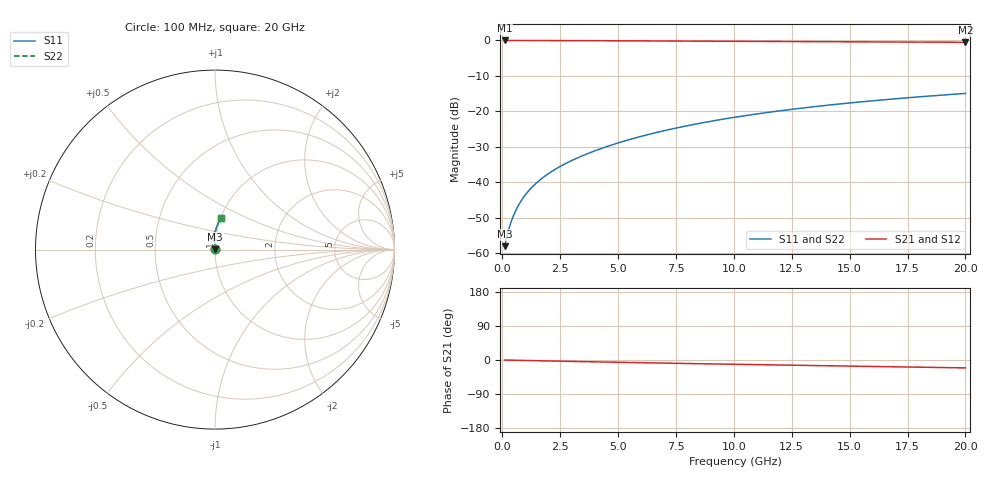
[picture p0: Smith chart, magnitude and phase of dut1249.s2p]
! Touchstone file exported from HFSS 2024.1.0
!  File:  C:/UserFiles/LocalFiles/RDL_TSV_Batchsim/temp_RDL_bottom_1249_1780245326.aedt
!  Generated:  12:37:33 AM Jun  1, 2026
!  Design:  RDL_bottom
!  Project:  temp_RDL_bottom_1249_1780245326
!  Setup:  Setup1
!  Solution:  Sweep
! Variables:
!  dtsv = 10.80580581um
!  hbump = 3um
!  htsv = 82.54um
!  ldown = 301.2um
!  lrdl = 100um
!  p = 40
!  p1 = 49.51um
!  rhole = 1um
!  t = 450um
!  tdown = 4.75um
!  trdl = 3.915915916um
!  wdown = 27.9um
!  wrdl = 20um
# GHz S MA R 50.000000
! Terminal data exported
! Port[1] = RDL1_T1
! Port[2] = RDL1_T2
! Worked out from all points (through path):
!   200 points, 100 MHz to 20 GHz, reference 50 ohm
!   highest |S21| = -0.01 dB at 100 MHz (marker M1); lowest = -0.5 dB at 20 GHz (marker M2)
!   group delay of S21, straight-line fit = 2.84 ps
!   lowest |S11| = -58.0 dB at 100 MHz (marker M3), VSWR 1.00, Z = 50.1 + j0.0768 ohm
!   |S11| at or under -10 dB: start of sweep to end of sweep
!   |S22| runs from -58.0 to -14.9 dB; largest |S21 - S12| = 4.4e-15
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0.1  0.001262 37.4  0.999 -0.1  0.999 -0.1  0.001262 37.4
! Gamma 0 0 0 0
! Port Impedance 50 0 50 0
0.2  0.001757 52.9  0.9989 -0.3  0.9989 -0.3  0.001757 52.9
0.3  0.002305 62.3  0.9988 -0.4  0.9988 -0.4  0.002305 62.3
0.4  0.002892 68.3  0.9987 -0.5  0.9987 -0.5  0.002892 68.3
0.5  0.003503 72.4  0.9986 -0.6  0.9986 -0.6  0.003503 72.4
0.6  0.004128 75.3  0.9985 -0.8  0.9985 -0.8  0.004128 75.3
0.8  0.005401 79.3  0.9983 -1.0  0.9983 -1.0  0.005401 79.3
1.1  0.007345 82.8  0.998 -1.4  0.998 -1.4  0.007345 82.8
1.5  0.009975 85.7  0.9974 -1.9  0.9974 -1.9  0.009975 85.7
1.8  0.01198 87.2  0.9969 -2.3  0.9969 -2.3  0.01198 87.2
2.1  0.01401 88.4  0.9963 -2.6  0.9963 -2.6  0.01401 88.4
2.7  0.01818 90.3  0.9949 -3.4  0.9949 -3.4  0.01818 90.3
3.5  0.02401 92.1  0.9927 -4.3  0.9927 -4.3  0.02402 92.1
4.2  0.02942 93.1  0.9905 -5.1  0.9905 -5.1  0.02942 93.1
5  0.03593 93.8  0.9878 -6.1  0.9878 -6.1  0.03593 93.8
6.8  0.05173 93.9  0.9814 -8.0  0.9814 -8.0  0.05173 93.9
8.4  0.06675 93.0  0.9758 -9.7  0.9758 -9.7  0.06675 93.0
10.1  0.08327 91.3  0.97 -11.4  0.97 -11.4  0.08327 91.3
11.7  0.09904 89.4  0.965 -13.0  0.965 -13.0  0.09905 89.4
13.4  0.1158 87.3  0.9598 -14.6  0.9598 -14.6  0.1158 87.3
16.7  0.148 83.1  0.9503 -17.7  0.9503 -17.7  0.148 83.1
20  0.1791 79.0  0.9412 -20.8  0.9412 -20.8  0.1791 79.0
